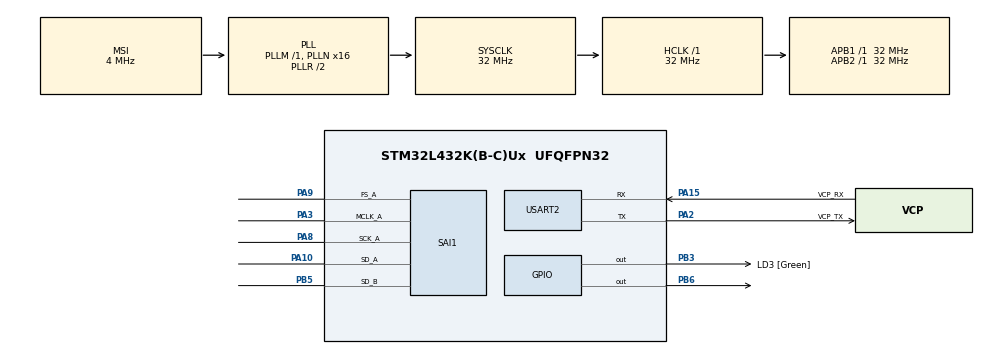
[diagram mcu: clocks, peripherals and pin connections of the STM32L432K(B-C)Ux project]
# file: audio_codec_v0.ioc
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Dma.Request0=SAI1_A
Dma.Request1=SAI1_B
Dma.SAI1_A.0.Direction=DMA_MEMORY_TO_PERIPH
Dma.SAI1_A.0.Instance=DMA2_Channel1
Dma.SAI1_A.0.MemDataAlignment=DMA_MDATAALIGN_WORD
Dma.SAI1_A.0.MemInc=DMA_MINC_ENABLE
Dma.SAI1_A.0.Mode=DMA_CIRCULAR
Dma.SAI1_A.0.PeriphDataAlignment=DMA_PDATAALIGN_WORD
Dma.SAI1_A.0.PeriphInc=DMA_PINC_DISABLE
Dma.SAI1_A.0.Priority=DMA_PRIORITY_VERY_HIGH
Dma.SAI1_B.1.Direction=DMA_PERIPH_TO_MEMORY
Dma.SAI1_B.1.Instance=DMA2_Channel2
Dma.SAI1_B.1.MemDataAlignment=DMA_MDATAALIGN_WORD
Dma.SAI1_B.1.MemInc=DMA_MINC_ENABLE
Dma.SAI1_B.1.Mode=DMA_CIRCULAR
Dma.SAI1_B.1.PeriphDataAlignment=DMA_PDATAALIGN_WORD
Dma.SAI1_B.1.PeriphInc=DMA_PINC_DISABLE
Dma.SAI1_B.1.Priority=DMA_PRIORITY_VERY_HIGH
Mcu.Family=STM32L4
Mcu.Name=STM32L432K(B-C)Ux
Mcu.Package=UFQFPN32
NVIC.DMA2_Channel1_IRQn=true\:0\:0\:false\:false\:true\:false\:true\:true
NVIC.DMA2_Channel2_IRQn=true\:0\:0\:false\:false\:true\:false\:true\:true
NVIC.PriorityGroup=NVIC_PRIORITYGROUP_4
PA0.GPIO_Label=MCO [High speed clock in]
PA0.Mode=HSE-External-Clock-Source-for-LittleOrca
PA0.Signal=RCC_CK_IN
PA10.Mode=SAI_A_MasterWithClock
PA10.Signal=SAI1_SD_A
PA13\ (JTMS-SWDIO).Mode=Serial_Wire
PA13\ (JTMS-SWDIO).Signal=SYS_JTMS-SWDIO
PA14\ (JTCK-SWCLK).GPIO_Label=SWCLK
PA14\ (JTCK-SWCLK).Mode=Serial_Wire
PA14\ (JTCK-SWCLK).Signal=SYS_JTCK-SWCLK
PA15\ (JTDI).GPIO_Label=VCP_RX
PA15\ (JTDI).Mode=Asynchronous
PA15\ (JTDI).Signal=USART2_RX
PA2.GPIO_Label=VCP_TX
PA2.Mode=Asynchronous
PA2.Signal=USART2_TX
PA3.Mode=SAI_A_MasterWithClock
PA3.Signal=SAI1_MCLK_A
PA8.Mode=SAI_A_MasterWithClock
PA8.Signal=SAI1_SCK_A
PA9.Mode=SAI_A_MasterWithClock
PA9.Signal=SAI1_FS_A
PB3\ (JTDO-TRACESWO).GPIO_Label=LD3 [Green]
PB3\ (JTDO-TRACESWO).Signal=GPIO_Output
PB5.Mode=SAI_B_SyncSlave
PB5.Signal=SAI1_SD_B
PB6.Signal=GPIO_Output
PC14-OSC32_IN\ (PC14).Mode=LSE-External-Oscillator
PC14-OSC32_IN\ (PC14).Signal=RCC_OSC32_IN
PC15-OSC32_OUT\ (PC15).Mode=LSE-External-Oscillator
PC15-OSC32_OUT\ (PC15).Signal=RCC_OSC32_OUT
ProjectManager.HeapSize=0x200
ProjectManager.StackSize=0x400
ProjectManager.TargetToolchain=STM32CubeIDE
RCC.ADCFreq_Value=32000000
RCC.AHBFreq_Value=32000000
RCC.APB1Freq_Value=32000000
RCC.APB1TimFreq_Value=32000000
RCC.APB2Freq_Value=32000000
RCC.APB2TimFreq_Value=32000000
RCC.CortexFreq_Value=32000000
RCC.HCLKFreq_Value=32000000
RCC.HSE_VALUE=8000000
RCC.HSI16_VALUE=16000000
RCC.HSI48_VALUE=48000000
RCC.HSI_VALUE=16000000
RCC.MSI_VALUE=4000000
RCC.PLLMUL=RCC_PLLMUL_4
RCC.PLLN=16
RCC.PLLSAI1N=16
RCC.SYSCLKFreq_VALUE=32000000
RCC.SYSCLKSource=RCC_SYSCLKSOURCE_PLLCLK
RCC.USBFreq_Value=32000000
RCC.VCOOutputFreq_Value=64000000
SAI1.AudioFrequency-SAI_A_MasterWithClock=SAI_AUDIO_FREQUENCY_44K
SAI1.BasicDataSize-SAI_A_MasterWithClock=SAI_PROTOCOL_DATASIZE_24BIT
SAI1.BasicDataSize-SAI_B_SyncSlave=SAI_PROTOCOL_DATASIZE_24BIT
SAI1.ErrorAudioFreq-SAI_A_MasterWithClock=-19.01 %
SAI1.InitProtocol-SAI_A_MasterWithClock=Enable
SAI1.InitProtocol-SAI_B_SyncSlave=Enable
SAI1.Instance-SAI_A_MasterWithClock=SAI$Index_Block_A
SAI1.Instance-SAI_B_SyncSlave=SAI$Index_Block_B
SAI1.MClockEnable-SAI_A_MasterWithClock=SAI_MASTERCLOCK_ENABLE
SAI1.RealAudioFreq-SAI_A_MasterWithClock=35.714 KHz
SAI1.VirtualMode-SAI_A_MasterWithClock=VM_MASTER
SAI1.VirtualMode-SAI_B_SyncSlave=VM_SLAVE
SAI1.VirtualProtocol-SAI_A_BASIC=VM_BASIC_PROTOCOL
SAI1.VirtualProtocol-SAI_B_BASIC=VM_BASIC_PROTOCOL
USART2.VirtualMode-Asynchronous=VM_ASYNC
VP_SAI1_VP_$IpInstance_SAIA_SAI_BASIC.Mode=SAI_A_BASIC
VP_SAI1_VP_$IpInstance_SAIB_SAI_BASIC.Mode=SAI_B_BASIC
board=NUCLEO-L432KC

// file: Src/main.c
/* USER CODE BEGIN Header */
/**
 ******************************************************************************
 * @file           : main.c
 * @brief          : Main program body
 ******************************************************************************
 * @attention
 *
 * Copyright (c) 2026 STMicroelectronics.
 * All rights reserved.
 *
 * This software is licensed under terms that can be found in the LICENSE file
 * in the root directory of this software component.
 * If no LICENSE file comes with this software, it is provided AS-IS.
 *
 ******************************************************************************
 */
/* USER CODE END Header */
#include "main.h"

/* USER CODE BEGIN PD */
#define PDWN_PORT GPIOB
#define PDWN_PIN GPIO_PIN_6

/* USER CODE END PD */

SAI_HandleTypeDef hsai_BlockA1;
SAI_HandleTypeDef hsai_BlockB1;
DMA_HandleTypeDef hdma_sai1_a;
DMA_HandleTypeDef hdma_sai1_b;

UART_HandleTypeDef huart2;

void SystemClock_Config(void);
void PeriphCommonClock_Config(void);
static void MX_GPIO_Init(void);
static void MX_DMA_Init(void);
static void MX_SAI1_Init(void);
static void MX_USART2_UART_Init(void);

int main(void) {

	/* USER CODE BEGIN 1 */

//	HAL_Delay(2000);
	/* USER CODE END 1 */

	/* MCU Configuration--------------------------------------------------------*/

	/* Reset of all peripherals, Initializes the Flash interface and the Systick. */
	HAL_Init();

	/* Configure the system clock */
	SystemClock_Config();

	/* Configure the peripherals common clocks */
	PeriphCommonClock_Config();

	/* USER CODE BEGIN SysInit */
	printf("begin init\r\n");
	pcm3010_config.pdwn_pin = PDWN_PIN;
	pcm3010_config.pwd_port = PDWN_PORT;
	pcm3010_config.transmit_hsai = &hsai_BlockA1;
	pcm3010_config.receive_hsai = &hsai_BlockB1;

	/* USER CODE END SysInit */

	/* Initialize all configured peripherals */
	MX_GPIO_Init();
	MX_DMA_Init();
	MX_SAI1_Init();
	MX_USART2_UART_Init();
	/* USER CODE BEGIN 2 */

	init_pcm3010();
	printf("starting while loop\r\n");

	/* USER CODE END 2 */

	/* Infinite loop */
	/* USER CODE BEGIN WHILE */
	while (1) {

		if (output_ready && input_ready) {
			unity_gain(pcm3010_buffers.output_p, pcm3010_buffers.input_p, BUFFER_SIZE / 2);
			output_ready = 0;
			input_ready = 0;
		}

		/* USER CODE END WHILE */

	}
}

void SystemClock_Config(void) {
	RCC_OscInitTypeDef RCC_OscInitStruct = { 0 };
	RCC_ClkInitTypeDef RCC_ClkInitStruct = { 0 };

	/** Configure the main internal regulator output voltage
	 */
	if (HAL_PWREx_ControlVoltageScaling(PWR_REGULATOR_VOLTAGE_SCALE1) != HAL_OK) {
		Error_Handler();
	}

	/** Configure LSE Drive Capability
	 */
	HAL_PWR_EnableBkUpAccess();
	__HAL_RCC_LSEDRIVE_CONFIG(RCC_LSEDRIVE_LOW);

	/** Initializes the RCC Oscillators according to the specified parameters
	 * in the RCC_OscInitTypeDef structure.
	 */
	RCC_OscInitStruct.OscillatorType = RCC_OSCILLATORTYPE_LSE | RCC_OSCILLATORTYPE_MSI;
	RCC_OscInitStruct.LSEState = RCC_LSE_ON;
	RCC_OscInitStruct.MSIState = RCC_MSI_ON;
	RCC_OscInitStruct.MSICalibrationValue = 0;
	RCC_OscInitStruct.MSIClockRange = RCC_MSIRANGE_6;
	RCC_OscInitStruct.PLL.PLLState = RCC_PLL_ON;
	RCC_OscInitStruct.PLL.PLLSource = RCC_PLLSOURCE_MSI;
	RCC_OscInitStruct.PLL.PLLM = 1;
	RCC_OscInitStruct.PLL.PLLN = 16;
	RCC_OscInitStruct.PLL.PLLP = RCC_PLLP_DIV7;
	RCC_OscInitStruct.PLL.PLLQ = RCC_PLLQ_DIV2;
	RCC_OscInitStruct.PLL.PLLR = RCC_PLLR_DIV2;
	if (HAL_RCC_OscConfig(&RCC_OscInitStruct) != HAL_OK) {
		Error_Handler();
	}

	/** Initializes the CPU, AHB and APB buses clocks
	 */
	RCC_ClkInitStruct.ClockType = RCC_CLOCKTYPE_HCLK | RCC_CLOCKTYPE_SYSCLK | RCC_CLOCKTYPE_PCLK1 | RCC_CLOCKTYPE_PCLK2;
	RCC_ClkInitStruct.SYSCLKSource = RCC_SYSCLKSOURCE_PLLCLK;
	RCC_ClkInitStruct.AHBCLKDivider = RCC_SYSCLK_DIV1;
	RCC_ClkInitStruct.APB1CLKDivider = RCC_HCLK_DIV1;
	RCC_ClkInitStruct.APB2CLKDivider = RCC_HCLK_DIV1;

	if (HAL_RCC_ClockConfig(&RCC_ClkInitStruct, FLASH_LATENCY_1) != HAL_OK) {
		Error_Handler();
	}

	/** Enable MSI Auto calibration
	 */
	HAL_RCCEx_EnableMSIPLLMode();
}

void PeriphCommonClock_Config(void) {
	RCC_PeriphCLKInitTypeDef PeriphClkInit = { 0 };

	/** Initializes the peripherals clock
	 */
	PeriphClkInit.PeriphClockSelection = RCC_PERIPHCLK_SAI1;
	PeriphClkInit.Sai1ClockSelection = RCC_SAI1CLKSOURCE_PLLSAI1;
	PeriphClkInit.PLLSAI1.PLLSAI1Source = RCC_PLLSOURCE_MSI;
	PeriphClkInit.PLLSAI1.PLLSAI1M = 1;
	PeriphClkInit.PLLSAI1.PLLSAI1N = 16;
	PeriphClkInit.PLLSAI1.PLLSAI1P = RCC_PLLP_DIV7;
	PeriphClkInit.PLLSAI1.PLLSAI1Q = RCC_PLLQ_DIV2;
	PeriphClkInit.PLLSAI1.PLLSAI1R = RCC_PLLR_DIV2;
	PeriphClkInit.PLLSAI1.PLLSAI1ClockOut = RCC_PLLSAI1_SAI1CLK;
	if (HAL_RCCEx_PeriphCLKConfig(&PeriphClkInit) != HAL_OK) {
		Error_Handler();
	}
}

static void MX_SAI1_Init(void) {

	hsai_BlockA1.Instance = SAI1_Block_A;
	hsai_BlockA1.Init.AudioMode = SAI_MODEMASTER_TX;
	hsai_BlockA1.Init.Synchro = SAI_ASYNCHRONOUS;
	hsai_BlockA1.Init.OutputDrive = SAI_OUTPUTDRIVE_DISABLE;
	hsai_BlockA1.Init.NoDivider = SAI_MASTERDIVIDER_ENABLE;
	hsai_BlockA1.Init.FIFOThreshold = SAI_FIFOTHRESHOLD_EMPTY;
	hsai_BlockA1.Init.AudioFrequency = SAI_AUDIO_FREQUENCY_44K;
	hsai_BlockA1.Init.SynchroExt = SAI_SYNCEXT_DISABLE;
	hsai_BlockA1.Init.MonoStereoMode = SAI_STEREOMODE;
	hsai_BlockA1.Init.CompandingMode = SAI_NOCOMPANDING;
	hsai_BlockA1.Init.TriState = SAI_OUTPUT_NOTRELEASED;
	if (HAL_SAI_InitProtocol(&hsai_BlockA1, SAI_I2S_STANDARD, SAI_PROTOCOL_DATASIZE_24BIT, 2) != HAL_OK) {
		Error_Handler();
	}
	//test edit
	hsai_BlockB1.Instance = SAI1_Block_B;
	hsai_BlockB1.Init.AudioMode = SAI_MODESLAVE_RX;
	hsai_BlockB1.Init.Synchro = SAI_SYNCHRONOUS;
	hsai_BlockB1.Init.OutputDrive = SAI_OUTPUTDRIVE_DISABLE;
	hsai_BlockB1.Init.FIFOThreshold = SAI_FIFOTHRESHOLD_EMPTY;
	hsai_BlockB1.Init.SynchroExt = SAI_SYNCEXT_DISABLE;
	hsai_BlockB1.Init.MonoStereoMode = SAI_STEREOMODE;
	hsai_BlockB1.Init.CompandingMode = SAI_NOCOMPANDING;
	hsai_BlockB1.Init.TriState = SAI_OUTPUT_NOTRELEASED;
	if (HAL_SAI_InitProtocol(&hsai_BlockB1, SAI_I2S_STANDARD, SAI_PROTOCOL_DATASIZE_24BIT, 2) != HAL_OK) {
		Error_Handler();
	}

}

static void MX_USART2_UART_Init(void) {

	huart2.Instance = USART2;
	huart2.Init.BaudRate = 115200;
	huart2.Init.WordLength = UART_WORDLENGTH_8B;
	huart2.Init.StopBits = UART_STOPBITS_1;
	huart2.Init.Parity = UART_PARITY_NONE;
	huart2.Init.Mode = UART_MODE_TX_RX;
	huart2.Init.HwFlowCtl = UART_HWCONTROL_NONE;
	huart2.Init.OverSampling = UART_OVERSAMPLING_16;
	huart2.Init.OneBitSampling = UART_ONE_BIT_SAMPLE_DISABLE;
	huart2.AdvancedInit.AdvFeatureInit = UART_ADVFEATURE_NO_INIT;
	if (HAL_UART_Init(&huart2) != HAL_OK) {
		Error_Handler();
	}

}

static void MX_DMA_Init(void) {

	/* DMA controller clock enable */
	__HAL_RCC_DMA2_CLK_ENABLE();

	/* DMA interrupt init */
	/* DMA2_Channel1_IRQn interrupt configuration */
	HAL_NVIC_SetPriority(DMA2_Channel1_IRQn, 0, 0);
	HAL_NVIC_EnableIRQ(DMA2_Channel1_IRQn);
	/* DMA2_Channel2_IRQn interrupt configuration */
	HAL_NVIC_SetPriority(DMA2_Channel2_IRQn, 0, 0);
	HAL_NVIC_EnableIRQ(DMA2_Channel2_IRQn);

}

static void MX_GPIO_Init(void) {
	GPIO_InitTypeDef GPIO_InitStruct = { 0 };

	/* GPIO Ports Clock Enable */
	__HAL_RCC_GPIOC_CLK_ENABLE();
	__HAL_RCC_GPIOA_CLK_ENABLE();
	__HAL_RCC_GPIOB_CLK_ENABLE();

	/*Configure GPIO pin Output Level */
	HAL_GPIO_WritePin(GPIOB, LD3_Pin | GPIO_PIN_6, GPIO_PIN_RESET);

	/*Configure GPIO pins : LD3_Pin PB6 */
	GPIO_InitStruct.Pin = LD3_Pin | GPIO_PIN_6;
	GPIO_InitStruct.Mode = GPIO_MODE_OUTPUT_PP;
	GPIO_InitStruct.Pull = GPIO_NOPULL;
	GPIO_InitStruct.Speed = GPIO_SPEED_FREQ_LOW;
	HAL_GPIO_Init(GPIOB, &GPIO_InitStruct);

}

/* USER CODE BEGIN 4 */

int __io_putchar(int ch) {
	HAL_UART_Transmit(&huart2, (uint8_t*) &ch, 1, 0xFFFF);
	return ch;
}

/* USER CODE END 4 */

void Error_Handler(void) {
	__disable_irq();
	while (1) {
	}
}
